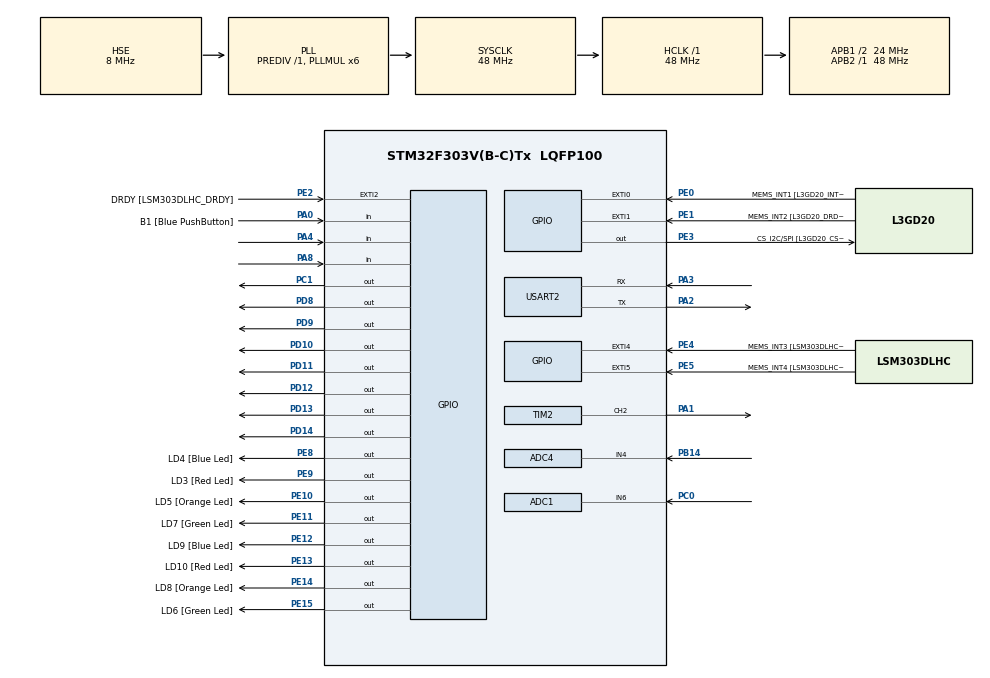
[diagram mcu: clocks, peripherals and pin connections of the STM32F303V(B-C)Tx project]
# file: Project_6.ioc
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ADC1.Channel-0\#ChannelRegularConversion=ADC_CHANNEL_6
ADC1.NbrOfConversionFlag=1
ADC1.Offset-0\#ChannelRegularConversion=0
ADC1.OffsetNumber-0\#ChannelRegularConversion=ADC_OFFSET_NONE
ADC1.Rank-0\#ChannelRegularConversion=1
ADC1.Resolution=ADC_RESOLUTION_10B
ADC1.SamplingTime-0\#ChannelRegularConversion=ADC_SAMPLETIME_601CYCLES_5
ADC1.SamplingTimeOPAMP-0\#ChannelRegularConversion=ADC_SAMPLETIME_19CYCLES_5
ADC1.master=1
ADC4.Channel-0\#ChannelRegularConversion=ADC_CHANNEL_4
ADC4.NbrOfConversionFlag=1
ADC4.Offset-0\#ChannelRegularConversion=0
ADC4.OffsetNumber-0\#ChannelRegularConversion=ADC_OFFSET_NONE
ADC4.Rank-0\#ChannelRegularConversion=1
ADC4.SamplingTime-0\#ChannelRegularConversion=ADC_SAMPLETIME_601CYCLES_5
ADC4.SamplingTimeOPAMP-0\#ChannelRegularConversion=ADC_SAMPLETIME_19CYCLES_5
Mcu.Family=STM32F3
Mcu.Name=STM32F303V(B-C)Tx
Mcu.Package=LQFP100
NVIC.ADC1_2_IRQn=true\:1\:0\:true\:false\:true\:true\:true
NVIC.ADC4_IRQn=true\:1\:0\:true\:false\:true\:true\:true
NVIC.PriorityGroup=NVIC_PRIORITYGROUP_4
NVIC.TIM3_IRQn=true\:2\:0\:true\:false\:true\:true\:true
PA0.GPIO_Label=B1 [Blue PushButton]
PA0.Signal=GPIO_Input
PA1.Signal=S_TIM2_CH2
PA11.GPIO_Label=DM
PA11.Signal=USB_DM
PA12.GPIO_Label=DP
PA12.Signal=USB_DP
PA13.GPIO_Label=SWDIO
PA13.Mode=Serial_Wire
PA13.Signal=SYS_JTMS-SWDIO
PA14.GPIO_Label=SWCLK
PA14.Mode=Serial_Wire
PA14.Signal=SYS_JTCK-SWCLK
PA2.Mode=Asynchronous
PA2.Signal=USART2_TX
PA3.Mode=Asynchronous
PA3.Signal=USART2_RX
PA4.Signal=GPIO_Input
PA5.GPIO_Label=SPI1_SCK [L3GD20_SCL/SPC]
PA5.Signal=SPI1_SCK
PA6.GPIO_Label=SPI1_MISO [L3GD20_SA0/SDO]
PA6.Signal=SPI1_MISO
PA7.GPIO_Label=SPI1_MISO [L3GD20_SDA/SDI/SDO]
PA7.Signal=SPI1_MOSI
PA8.GPIO_PuPd=GPIO_PULLDOWN
PA8.Signal=GPIO_Input
PB14.Mode=IN4-Single-Ended
PB14.Signal=ADC4_IN4
PB3.GPIO_Label=SWO
PB3.Signal=SYS_JTDO-TRACESWO
PB6.GPIO_Label=I2C1_SCL [LSM303DLHC_SCL]
PB6.GPIO_Pu=GPIO_PULLUP
PB6.Signal=I2C1_SCL
PB7.GPIO_Label=I2C1_SDA [LSM303DLHC_SDA]
PB7.GPIO_Pu=GPIO_PULLUP
PB7.Signal=I2C1_SDA
PC0.Signal=ADCx_IN6
PC1.Signal=GPIO_Output
PC14-OSC32_IN.GPIO_Label=OSC32_IN
PC14-OSC32_IN.Signal=RCC_OSC32_IN
PC15-OSC32_OUT.GPIO_Label=OSC32_OUT
PC15-OSC32_OUT.Signal=RCC_OSC32_OUT
PD10.Signal=GPIO_Output
PD11.Signal=GPIO_Output
PD12.Signal=GPIO_Output
PD13.Signal=GPIO_Output
PD14.Signal=GPIO_Output
PD8.Signal=GPIO_Output
PD9.Signal=GPIO_Output
PE0.GPIO_Label=MEMS_INT1 [L3GD20_INT1]
PE0.GPIO_ModeDefaultEXTI=GPIO_MODE_EVT_RISING
PE0.Signal=GPXTI0
PE1.GPIO_Label=MEMS_INT2 [L3GD20_DRDY/INT2]
PE1.GPIO_ModeDefaultEXTI=GPIO_MODE_EVT_RISING
PE1.Signal=GPXTI1
PE10.GPIO_Label=LD5 [Orange Led]
PE10.Signal=GPIO_Output
PE11.GPIO_Label=LD7 [Green Led]
PE11.Signal=GPIO_Output
PE12.GPIO_Label=LD9 [Blue Led]
PE12.Signal=GPIO_Output
PE13.GPIO_Label=LD10 [Red Led]
PE13.Signal=GPIO_Output
PE14.GPIO_Label=LD8 [Orange Led]
PE14.Signal=GPIO_Output
PE15.GPIO_Label=LD6 [Green Led]
PE15.Signal=GPIO_Output
PE2.GPIO_Label=DRDY [LSM303DLHC_DRDY]
PE2.GPIO_ModeDefaultEXTI=GPIO_MODE_EVT_RISING
PE2.Signal=GPXTI2
PE3.GPIO_Label=CS_I2C/SPI [L3GD20_CS_I2C/SPI]
PE3.Signal=GPIO_Output
PE4.GPIO_Label=MEMS_INT3 [LSM303DLHC_INT1]
PE4.GPIO_ModeDefaultEXTI=GPIO_MODE_EVT_RISING
PE4.Signal=GPXTI4
PE5.GPIO_Label=MEMS_INT4 [LSM303DLHC_INT2]
PE5.GPIO_ModeDefaultEXTI=GPIO_MODE_EVT_RISING
PE5.Signal=GPXTI5
PE8.GPIO_Label=LD4 [Blue Led]
PE8.Signal=GPIO_Output
PE9.GPIO_Label=LD3 [Red Led]
PE9.Signal=GPIO_Output
PF0-OSC_IN.GPIO_Label=OSC_IN
PF0-OSC_IN.Mode=HSE-External-Clock-Source
PF0-OSC_IN.Signal=RCC_OSC_IN
PF1-OSC_OUT.GPIO_Label=OSC_OUT
PF1-OSC_OUT.Signal=RCC_OSC_OUT
ProjectManager.HeapSize=0x200
ProjectManager.StackSize=0x400
ProjectManager.TargetToolchain=STM32CubeIDE
RCC.AHBFreq_Value=48000000
RCC.APB1CLKDivider=RCC_HCLK_DIV2
RCC.APB1Freq_Value=24000000
RCC.APB1TimFreq_Value=48000000
RCC.APB2Freq_Value=48000000
RCC.APB2TimFreq_Value=48000000
RCC.CortexFreq_Value=48000000
RCC.HCLKFreq_Value=48000000
RCC.HSE_VALUE=8000000
RCC.HSI_VALUE=8000000
RCC.LSE_VALUE=32768
RCC.PLLMUL=RCC_PLL_MUL6
RCC.PLLSourceVirtual=RCC_PLLSOURCE_HSE
RCC.SYSCLKFreq_VALUE=48000000
RCC.SYSCLKSourceVirtual=RCC_SYSCLKSOURCE_PLLCLK
RCC.USBFreq_Value=48000000
RTC.AsynchPrediv=39
RTC.SynchPrediv=999
SH.ADCx_IN6.0=ADC1_IN6,IN6-Single-Ended
SH.S_TIM2_CH2.0=TIM2_CH2,PWM Generation2 CH2
TIM2.Channel-PWM\ Generation2\ CH2=TIM_CHANNEL_2
TIM2.Period=100
TIM3.Period=9999
TIM3.Prescaler=47
USART2.VirtualMode-Asynchronous=VM_ASYNC
VP_RTC_VS_RTC_Activate.Mode=RTC_Enabled
VP_RTC_VS_RTC_Calendar.Mode=RTC_Calendar
VP_TIM3_VS_ClockSourceINT.Mode=Internal
board=STM32F3DISCOVERY

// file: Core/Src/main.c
/* USER CODE BEGIN Header */
/**
  ******************************************************************************
  * @file           : main.c
  * @brief          : Main program body
  ******************************************************************************
  * @attention
  *
  * <h2><center>&copy; Copyright (c) 2022 STMicroelectronics.
  * All rights reserved.</center></h2>
  *
  * This software component is licensed by ST under BSD 3-Clause license,
  * the "License"; You may not use this file except in compliance with the
  * License. You may obtain a copy of the License at:
  *                        opensource.org/licenses/BSD-3-Clause
  *
  ******************************************************************************
  */
/* USER CODE END Header */
#include "main.h"

/* USER CODE BEGIN Includes */
#include "LiquidCrystal.h"
#include "stdio.h"
/* USER CODE END Includes */

/* USER CODE BEGIN PTD */
typedef unsigned char byte;
RTC_TimeTypeDef now_time;
RTC_DateTypeDef now_date;
/* USER CODE END PTD */

ADC_HandleTypeDef hadc1;
ADC_HandleTypeDef hadc4;

RTC_HandleTypeDef hrtc;

TIM_HandleTypeDef htim2;
TIM_HandleTypeDef htim3;

UART_HandleTypeDef huart2;

/* USER CODE BEGIN PV */
byte blank[] = {
        0x00,
        0x00,
        0x00,
        0x00,
        0x00,
        0x00,
        0x00,
        0x00
};

byte lamp[] = {
        0x0E,
        0x11,
        0x11,
        0x11,
        0x0A,
        0x0E,
        0x0E,
        0x04
};

byte left[] = {
        0x1F,
        0x10,
        0x10,
        0x10,
        0x10,
        0x10,
        0x10,
        0x1F
};

byte middle[] = {
        0x1F,
        0x00,
        0x00,
        0x00,
        0x00,
        0x00,
        0x00,
        0x1F
};

byte right[] = {
        0x1F,
        0x01,
        0x01,
        0x01,
        0x01,
        0x01,
        0x01,
        0x1F
};

byte full[] = {
        0x1F,
        0x1F,
        0x1F,
        0x1F,
        0x1F,
        0x1F,
        0x1F,
        0x1F
};

byte thermometer[] = {
        0x00,
        0x00,
        0x06,
        0x06,
        0x06,
        0x09,
        0x09,
        0x06
};

byte degree[] = {
        0x07,
        0x05,
        0x07,
        0x00,
        0x00,
        0x00,
        0x00,
        0x00
};
/* USER CODE END PV */

void SystemClock_Config(void);
static void MX_GPIO_Init(void);
static void MX_RTC_Init(void);
static void MX_ADC1_Init(void);
static void MX_ADC4_Init(void);
static void MX_TIM3_Init(void);
static void MX_TIM2_Init(void);
static void MX_USART2_UART_Init(void);

/* USER CODE BEGIN 0 */
TIM_HandleTypeDef *pwm_timer = &htim2;
uint32_t pwm_channel = TIM_CHANNEL_2;

void PWM_Start() {
    HAL_TIM_PWM_Start(pwm_timer, pwm_channel);
}
/* USER CODE END 0 */

int main(void)
{

  /* MCU Configuration--------------------------------------------------------*/

  /* Reset of all peripherals, Initializes the Flash interface and the Systick. */
  HAL_Init();

  /* Configure the system clock */
  SystemClock_Config();

  /* Initialize all configured peripherals */
  MX_GPIO_Init();
  MX_RTC_Init();
  MX_ADC1_Init();
  MX_ADC4_Init();
  MX_TIM3_Init();
  MX_TIM2_Init();
  MX_USART2_UART_Init();
  /* USER CODE BEGIN 2 */
    LiquidCrystal(GPIOD, GPIO_PIN_8, GPIO_PIN_9, GPIO_PIN_10, GPIO_PIN_11, GPIO_PIN_12, GPIO_PIN_13, GPIO_PIN_14);
    begin(20, 4);

    now_time.Seconds = 0;
    now_time.Minutes = 0;
    now_time.Hours = 0;

    HAL_RTC_SetTime(&hrtc, &now_time, RTC_FORMAT_BIN);

    now_date.Date = 25;
    now_date.Month = 5;
    now_date.Year = 22;

    HAL_RTC_SetDate(&hrtc, &now_date, RTC_FORMAT_BIN);

    HAL_GPIO_WritePin(GPIOC, GPIO_PIN_1, 1);

    HAL_TIM_Base_Start_IT(&htim3);

    HAL_TIM_PWM_Start(&htim2, TIM_CHANNEL_3);
    PWM_Start();

  /* USER CODE END 2 */

  /* Infinite loop */
    while (1) {

    }
}

void SystemClock_Config(void)
{
  RCC_OscInitTypeDef RCC_OscInitStruct = {0};
  RCC_ClkInitTypeDef RCC_ClkInitStruct = {0};
  RCC_PeriphCLKInitTypeDef PeriphClkInit = {0};

  /** Initializes the RCC Oscillators according to the specified parameters
  * in the RCC_OscInitTypeDef structure.
  */
  RCC_OscInitStruct.OscillatorType = RCC_OSCILLATORTYPE_LSI|RCC_OSCILLATORTYPE_HSE;
  RCC_OscInitStruct.HSEState = RCC_HSE_BYPASS;
  RCC_OscInitStruct.HSEPredivValue = RCC_HSE_PREDIV_DIV1;
  RCC_OscInitStruct.HSIState = RCC_HSI_ON;
  RCC_OscInitStruct.LSIState = RCC_LSI_ON;
  RCC_OscInitStruct.PLL.PLLState = RCC_PLL_ON;
  RCC_OscInitStruct.PLL.PLLSource = RCC_PLLSOURCE_HSE;
  RCC_OscInitStruct.PLL.PLLMUL = RCC_PLL_MUL6;
  if (HAL_RCC_OscConfig(&RCC_OscInitStruct) != HAL_OK)
  {
    Error_Handler();
  }
  /** Initializes the CPU, AHB and APB buses clocks
  */
  RCC_ClkInitStruct.ClockType = RCC_CLOCKTYPE_HCLK|RCC_CLOCKTYPE_SYSCLK
                              |RCC_CLOCKTYPE_PCLK1|RCC_CLOCKTYPE_PCLK2;
  RCC_ClkInitStruct.SYSCLKSource = RCC_SYSCLKSOURCE_PLLCLK;
  RCC_ClkInitStruct.AHBCLKDivider = RCC_SYSCLK_DIV1;
  RCC_ClkInitStruct.APB1CLKDivider = RCC_HCLK_DIV2;
  RCC_ClkInitStruct.APB2CLKDivider = RCC_HCLK_DIV1;

  if (HAL_RCC_ClockConfig(&RCC_ClkInitStruct, FLASH_LATENCY_1) != HAL_OK)
  {
    Error_Handler();
  }
  PeriphClkInit.PeriphClockSelection = RCC_PERIPHCLK_USART2|RCC_PERIPHCLK_RTC
                              |RCC_PERIPHCLK_ADC12|RCC_PERIPHCLK_ADC34;
  PeriphClkInit.Usart2ClockSelection = RCC_USART2CLKSOURCE_PCLK1;
  PeriphClkInit.Adc12ClockSelection = RCC_ADC12PLLCLK_DIV1;
  PeriphClkInit.Adc34ClockSelection = RCC_ADC34PLLCLK_DIV1;
  PeriphClkInit.RTCClockSelection = RCC_RTCCLKSOURCE_LSI;
  if (HAL_RCCEx_PeriphCLKConfig(&PeriphClkInit) != HAL_OK)
  {
    Error_Handler();
  }
}

static void MX_ADC1_Init(void)
{

  ADC_MultiModeTypeDef multimode = {0};
  ADC_ChannelConfTypeDef sConfig = {0};

  /** Common config
  */
  hadc1.Instance = ADC1;
  hadc1.Init.ClockPrescaler = ADC_CLOCK_ASYNC_DIV1;
  hadc1.Init.Resolution = ADC_RESOLUTION_10B;
  hadc1.Init.ScanConvMode = ADC_SCAN_DISABLE;
  hadc1.Init.ContinuousConvMode = DISABLE;
  hadc1.Init.DiscontinuousConvMode = DISABLE;
  hadc1.Init.ExternalTrigConvEdge = ADC_EXTERNALTRIGCONVEDGE_NONE;
  hadc1.Init.ExternalTrigConv = ADC_SOFTWARE_START;
  hadc1.Init.DataAlign = ADC_DATAALIGN_RIGHT;
  hadc1.Init.NbrOfConversion = 1;
  hadc1.Init.DMAContinuousRequests = DISABLE;
  hadc1.Init.EOCSelection = ADC_EOC_SINGLE_CONV;
  hadc1.Init.LowPowerAutoWait = DISABLE;
  hadc1.Init.Overrun = ADC_OVR_DATA_OVERWRITTEN;
  if (HAL_ADC_Init(&hadc1) != HAL_OK)
  {
    Error_Handler();
  }
  /** Configure the ADC multi-mode
  */
  multimode.Mode = ADC_MODE_INDEPENDENT;
  if (HAL_ADCEx_MultiModeConfigChannel(&hadc1, &multimode) != HAL_OK)
  {
    Error_Handler();
  }
  /** Configure Regular Channel
  */
  sConfig.Channel = ADC_CHANNEL_6;
  sConfig.Rank = ADC_REGULAR_RANK_1;
  sConfig.SingleDiff = ADC_SINGLE_ENDED;
  sConfig.SamplingTime = ADC_SAMPLETIME_601CYCLES_5;
  sConfig.OffsetNumber = ADC_OFFSET_NONE;
  sConfig.Offset = 0;
  if (HAL_ADC_ConfigChannel(&hadc1, &sConfig) != HAL_OK)
  {
    Error_Handler();
  }

}

static void MX_ADC4_Init(void)
{

  ADC_ChannelConfTypeDef sConfig = {0};

  /** Common config
  */
  hadc4.Instance = ADC4;
  hadc4.Init.ClockPrescaler = ADC_CLOCK_ASYNC_DIV1;
  hadc4.Init.Resolution = ADC_RESOLUTION_12B;
  hadc4.Init.ScanConvMode = ADC_SCAN_DISABLE;
  hadc4.Init.ContinuousConvMode = DISABLE;
  hadc4.Init.DiscontinuousConvMode = DISABLE;
  hadc4.Init.ExternalTrigConvEdge = ADC_EXTERNALTRIGCONVEDGE_NONE;
  hadc4.Init.ExternalTrigConv = ADC_SOFTWARE_START;
  hadc4.Init.DataAlign = ADC_DATAALIGN_RIGHT;
  hadc4.Init.NbrOfConversion = 1;
  hadc4.Init.DMAContinuousRequests = DISABLE;
  hadc4.Init.EOCSelection = ADC_EOC_SINGLE_CONV;
  hadc4.Init.LowPowerAutoWait = DISABLE;
  hadc4.Init.Overrun = ADC_OVR_DATA_OVERWRITTEN;
  if (HAL_ADC_Init(&hadc4) != HAL_OK)
  {
    Error_Handler();
  }
  /** Configure Regular Channel
  */
  sConfig.Channel = ADC_CHANNEL_4;
  sConfig.Rank = ADC_REGULAR_RANK_1;
  sConfig.SingleDiff = ADC_SINGLE_ENDED;
  sConfig.SamplingTime = ADC_SAMPLETIME_601CYCLES_5;
  sConfig.OffsetNumber = ADC_OFFSET_NONE;
  sConfig.Offset = 0;
  if (HAL_ADC_ConfigChannel(&hadc4, &sConfig) != HAL_OK)
  {
    Error_Handler();
  }

}

static void MX_RTC_Init(void)
{

  RTC_TimeTypeDef sTime = {0};
  RTC_DateTypeDef sDate = {0};

  /** Initialize RTC Only
  */
  hrtc.Instance = RTC;
  hrtc.Init.HourFormat = RTC_HOURFORMAT_24;
  hrtc.Init.AsynchPrediv = 39;
  hrtc.Init.SynchPrediv = 999;
  hrtc.Init.OutPut = RTC_OUTPUT_DISABLE;
  hrtc.Init.OutPutPolarity = RTC_OUTPUT_POLARITY_HIGH;
  hrtc.Init.OutPutType = RTC_OUTPUT_TYPE_OPENDRAIN;
  if (HAL_RTC_Init(&hrtc) != HAL_OK)
  {
    Error_Handler();
  }

  /** Initialize RTC and set the Time and Date
  */
  sTime.Hours = 0x0;
  sTime.Minutes = 0x0;
  sTime.Seconds = 0x0;
  sTime.DayLightSaving = RTC_DAYLIGHTSAVING_NONE;
  sTime.StoreOperation = RTC_STOREOPERATION_RESET;
  if (HAL_RTC_SetTime(&hrtc, &sTime, RTC_FORMAT_BCD) != HAL_OK)
  {
    Error_Handler();
  }
  sDate.WeekDay = RTC_WEEKDAY_MONDAY;
  sDate.Month = RTC_MONTH_JANUARY;
  sDate.Date = 0x1;
  sDate.Year = 0x0;

  if (HAL_RTC_SetDate(&hrtc, &sDate, RTC_FORMAT_BCD) != HAL_OK)
  {
    Error_Handler();
  }

}

static void MX_TIM2_Init(void)
{

  TIM_MasterConfigTypeDef sMasterConfig = {0};
  TIM_OC_InitTypeDef sConfigOC = {0};

  htim2.Instance = TIM2;
  htim2.Init.Prescaler = 0;
  htim2.Init.CounterMode = TIM_COUNTERMODE_UP;
  htim2.Init.Period = 100;
  htim2.Init.ClockDivision = TIM_CLOCKDIVISION_DIV1;
  htim2.Init.AutoReloadPreload = TIM_AUTORELOAD_PRELOAD_DISABLE;
  if (HAL_TIM_PWM_Init(&htim2) != HAL_OK)
  {
    Error_Handler();
  }
  sMasterConfig.MasterOutputTrigger = TIM_TRGO_RESET;
  sMasterConfig.MasterSlaveMode = TIM_MASTERSLAVEMODE_DISABLE;
  if (HAL_TIMEx_MasterConfigSynchronization(&htim2, &sMasterConfig) != HAL_OK)
  {
    Error_Handler();
  }
  sConfigOC.OCMode = TIM_OCMODE_PWM1;
  sConfigOC.Pulse = 0;
  sConfigOC.OCPolarity = TIM_OCPOLARITY_HIGH;
  sConfigOC.OCFastMode = TIM_OCFAST_DISABLE;
  if (HAL_TIM_PWM_ConfigChannel(&htim2, &sConfigOC, TIM_CHANNEL_2) != HAL_OK)
  {
    Error_Handler();
  }
  HAL_TIM_MspPostInit(&htim2);

}

static void MX_TIM3_Init(void)
{

  TIM_ClockConfigTypeDef sClockSourceConfig = {0};
  TIM_MasterConfigTypeDef sMasterConfig = {0};

  htim3.Instance = TIM3;
  htim3.Init.Prescaler = 47;
  htim3.Init.CounterMode = TIM_COUNTERMODE_UP;
  htim3.Init.Period = 9999;
  htim3.Init.ClockDivision = TIM_CLOCKDIVISION_DIV1;
  htim3.Init.AutoReloadPreload = TIM_AUTORELOAD_PRELOAD_DISABLE;
  if (HAL_TIM_Base_Init(&htim3) != HAL_OK)
  {
    Error_Handler();
  }
  sClockSourceConfig.ClockSource = TIM_CLOCKSOURCE_INTERNAL;
  if (HAL_TIM_ConfigClockSource(&htim3, &sClockSourceConfig) != HAL_OK)
  {
    Error_Handler();
  }
  sMasterConfig.MasterOutputTrigger = TIM_TRGO_RESET;
  sMasterConfig.MasterSlaveMode = TIM_MASTERSLAVEMODE_DISABLE;
  if (HAL_TIMEx_MasterConfigSynchronization(&htim3, &sMasterConfig) != HAL_OK)
  {
    Error_Handler();
  }

}

static void MX_USART2_UART_Init(void)
{

  huart2.Instance = USART2;
  huart2.Init.BaudRate = 38400;
  huart2.Init.WordLength = UART_WORDLENGTH_8B;
  huart2.Init.StopBits = UART_STOPBITS_1;
  huart2.Init.Parity = UART_PARITY_NONE;
  huart2.Init.Mode = UART_MODE_TX_RX;
  huart2.Init.HwFlowCtl = UART_HWCONTROL_NONE;
  huart2.Init.OverSampling = UART_OVERSAMPLING_16;
  huart2.Init.OneBitSampling = UART_ONE_BIT_SAMPLE_DISABLE;
  huart2.AdvancedInit.AdvFeatureInit = UART_ADVFEATURE_NO_INIT;
  if (HAL_UART_Init(&huart2) != HAL_OK)
  {
    Error_Handler();
  }

}

static void MX_GPIO_Init(void)
{
  GPIO_InitTypeDef GPIO_InitStruct = {0};

  /* GPIO Ports Clock Enable */
  __HAL_RCC_GPIOE_CLK_ENABLE();
  __HAL_RCC_GPIOC_CLK_ENABLE();
  __HAL_RCC_GPIOF_CLK_ENABLE();
  __HAL_RCC_GPIOA_CLK_ENABLE();
  __HAL_RCC_GPIOB_CLK_ENABLE();
  __HAL_RCC_GPIOD_CLK_ENABLE();

  /*Configure GPIO pin Output Level */
  HAL_GPIO_WritePin(GPIOE, CS_I2C_SPI_Pin|LD4_Pin|LD3_Pin|LD5_Pin
                          |LD7_Pin|LD9_Pin|LD10_Pin|LD8_Pin
                          |LD6_Pin, GPIO_PIN_RESET);

  /*Configure GPIO pin Output Level */
  HAL_GPIO_WritePin(GPIOC, GPIO_PIN_1, GPIO_PIN_RESET);

  /*Configure GPIO pin Output Level */
  HAL_GPIO_WritePin(GPIOD, GPIO_PIN_8|GPIO_PIN_9|GPIO_PIN_10|GPIO_PIN_11
                          |GPIO_PIN_12|GPIO_PIN_13|GPIO_PIN_14, GPIO_PIN_RESET);

  /*Configure GPIO pins : DRDY_Pin MEMS_INT3_Pin MEMS_INT4_Pin MEMS_INT1_Pin
                           MEMS_INT2_Pin */
  GPIO_InitStruct.Pin = DRDY_Pin|MEMS_INT3_Pin|MEMS_INT4_Pin|MEMS_INT1_Pin
                          |MEMS_INT2_Pin;
  GPIO_InitStruct.Mode = GPIO_MODE_EVT_RISING;
  GPIO_InitStruct.Pull = GPIO_NOPULL;
  HAL_GPIO_Init(GPIOE, &GPIO_InitStruct);

  /*Configure GPIO pins : CS_I2C_SPI_Pin LD4_Pin LD3_Pin LD5_Pin
                           LD7_Pin LD9_Pin LD10_Pin LD8_Pin
                           LD6_Pin */
  GPIO_InitStruct.Pin = CS_I2C_SPI_Pin|LD4_Pin|LD3_Pin|LD5_Pin
                          |LD7_Pin|LD9_Pin|LD10_Pin|LD8_Pin
                          |LD6_Pin;
  GPIO_InitStruct.Mode = GPIO_MODE_OUTPUT_PP;
  GPIO_InitStruct.Pull = GPIO_NOPULL;
  GPIO_InitStruct.Speed = GPIO_SPEED_FREQ_LOW;
  HAL_GPIO_Init(GPIOE, &GPIO_InitStruct);

  /*Configure GPIO pin : PC1 */
  GPIO_InitStruct.Pin = GPIO_PIN_1;
  GPIO_InitStruct.Mode = GPIO_MODE_OUTPUT_PP;
  GPIO_InitStruct.Pull = GPIO_NOPULL;
  GPIO_InitStruct.Speed = GPIO_SPEED_FREQ_LOW;
  HAL_GPIO_Init(GPIOC, &GPIO_InitStruct);

  /*Configure GPIO pins : B1_Pin PA4 */
  GPIO_InitStruct.Pin = B1_Pin|GPIO_PIN_4;
  GPIO_InitStruct.Mode = GPIO_MODE_INPUT;
  GPIO_InitStruct.Pull = GPIO_NOPULL;
  HAL_GPIO_Init(GPIOA, &GPIO_InitStruct);

  /*Configure GPIO pins : SPI1_SCK_Pin SPI1_MISO_Pin SPI1_MISOA7_Pin */
  GPIO_InitStruct.Pin = SPI1_SCK_Pin|SPI1_MISO_Pin|SPI1_MISOA7_Pin;
  GPIO_InitStruct.Mode = GPIO_MODE_AF_PP;
  GPIO_InitStruct.Pull = GPIO_NOPULL;
  GPIO_InitStruct.Speed = GPIO_SPEED_FREQ_HIGH;
  GPIO_InitStruct.Alternate = GPIO_AF5_SPI1;
  HAL_GPIO_Init(GPIOA, &GPIO_InitStruct);

  /*Configure GPIO pins : PD8 PD9 PD10 PD11
                           PD12 PD13 PD14 */
  GPIO_InitStruct.Pin = GPIO_PIN_8|GPIO_PIN_9|GPIO_PIN_10|GPIO_PIN_11
                          |GPIO_PIN_12|GPIO_PIN_13|GPIO_PIN_14;
  GPIO_InitStruct.Mode = GPIO_MODE_OUTPUT_PP;
  GPIO_InitStruct.Pull = GPIO_NOPULL;
  GPIO_InitStruct.Speed = GPIO_SPEED_FREQ_LOW;
  HAL_GPIO_Init(GPIOD, &GPIO_InitStruct);

  /*Configure GPIO pin : PA8 */
  GPIO_InitStruct.Pin = GPIO_PIN_8;
  GPIO_InitStruct.Mode = GPIO_MODE_INPUT;
  GPIO_InitStruct.Pull = GPIO_PULLDOWN;
  HAL_GPIO_Init(GPIOA, &GPIO_InitStruct);

  /*Configure GPIO pins : DM_Pin DP_Pin */
  GPIO_InitStruct.Pin = DM_Pin|DP_Pin;
  GPIO_InitStruct.Mode = GPIO_MODE_AF_PP;
  GPIO_InitStruct.Pull = GPIO_NOPULL;
  GPIO_InitStruct.Speed = GPIO_SPEED_FREQ_HIGH;
  GPIO_InitStruct.Alternate = GPIO_AF14_USB;
  HAL_GPIO_Init(GPIOA, &GPIO_InitStruct);

  /*Configure GPIO pins : I2C1_SCL_Pin I2C1_SDA_Pin */
  GPIO_InitStruct.Pin = I2C1_SCL_Pin|I2C1_SDA_Pin;
  GPIO_InitStruct.Mode = GPIO_MODE_AF_OD;
  GPIO_InitStruct.Pull = GPIO_PULLUP;
  GPIO_InitStruct.Speed = GPIO_SPEED_FREQ_HIGH;
  GPIO_InitStruct.Alternate = GPIO_AF4_I2C1;
  HAL_GPIO_Init(GPIOB, &GPIO_InitStruct);

}

void Error_Handler(void)
{
    __disable_irq();
    while (1) {
    }
}

/************************ (C) COPYRIGHT STMicroelectronics *****END OF FILE****/
